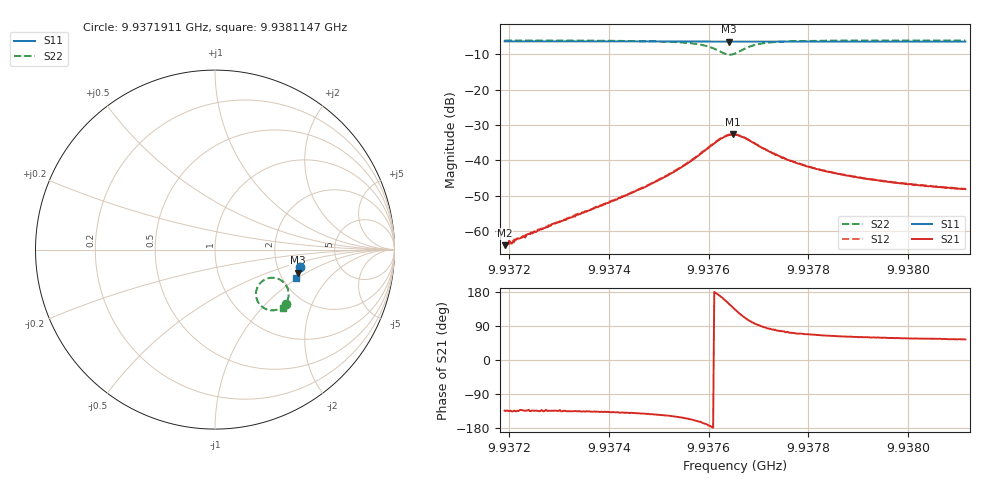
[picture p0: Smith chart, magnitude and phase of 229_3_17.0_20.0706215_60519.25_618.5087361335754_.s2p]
#  HZ  S  RI  R  50.00
! Rohde & Schwarz Vector Network Analyzer
! Rohde-Schwarz,ZNB20-2Port,1311601062101988,3.16
! Created: UTC 3/20/2024, 11:02:18 PM
! freq[Hz]  re:S11  im:S11  re:S21  im:S21  re:S12  im:S12  re:S22  im:S22
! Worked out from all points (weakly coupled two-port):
!   401 points, 9.9371911 GHz to 9.9381147 GHz, reference 50 ohm
!   highest |S21| = -32.65 dB at 9.9376483 GHz (marker M1); lowest = -64.0 dB at 9.9371911 GHz (marker M2)
!   lowest |S11| = -6.4 dB at 9.9376414 GHz (marker M3), VSWR 2.84, Z = 126 - j41.9 ohm
!   |S11| at or under -10 dB: nowhere
!   |S22| runs from -10.1 to -6.1 dB; largest |S21 - S12| = 0.0011
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9.9371911e9  0.4737 -0.0994  -0.000435 -0.000458  -0.000424 -0.000445  0.395 -0.3031
9.93721188e9  0.4732 -0.101  -0.000525 -0.000538  -0.000529 -0.000551  0.3936 -0.3047
9.93723728e9  0.4727 -0.1027  -0.000623 -0.000659  -0.000644 -0.000619  0.3914 -0.3066
9.93729038e9  0.4716 -0.1064  -0.000887 -0.000935  -0.000933 -0.000906  0.3866 -0.3113
9.9373458e9  0.4706 -0.1101  -0.00132 -0.00127  -0.00132 -0.00126  0.3803 -0.3165
9.93744509e9  0.4685 -0.1168  -0.00263 -0.00227  -0.00273 -0.00224  0.3637 -0.3274
9.9375005e9  0.467 -0.1205  -0.00433 -0.00309  -0.00445 -0.00307  0.3466 -0.3343
9.93754899e9  0.4656 -0.124  -0.0074 -0.00381  -0.00757 -0.00374  0.3188 -0.3385
9.93759287e9  0.4639 -0.1268  -0.0136 -0.0028  -0.0139 -0.00244  0.269 -0.3233
9.93762288e9  0.4624 -0.128  -0.0196 0.00385  -0.0199 0.00446  0.2297 -0.2623
9.93764135e9  0.4617 -0.1283  -0.0193 0.0124  -0.0193 0.013  0.244 -0.1966
9.93764828e9  0.4619 -0.1285  -0.0175 0.0154  -0.0173 0.016  0.2633 -0.1761
9.9376529e9  0.4619 -0.1285  -0.0159 0.017  -0.0155 0.0175  0.2789 -0.1661
9.93766445e9  0.4622 -0.1289  -0.0109 0.019  -0.0104 0.0197  0.3205 -0.1568
9.93768061e9  0.4625 -0.1297  -0.00487 0.0189  -0.00438 0.019  0.3664 -0.1702
9.93770601e9  0.4626 -0.1318  0.000235 0.0153  0.000721 0.0152  0.4001 -0.2066
9.93774988e9  0.4621 -0.135  0.0027 0.0106  0.00304 0.0105  0.4104 -0.2498
9.9378076e9  0.4608 -0.1393  0.0031 0.00727  0.00325 0.00723  0.4056 -0.2782
9.93787457e9  0.4593 -0.1438  0.00289 0.00544  0.00306 0.00544  0.3983 -0.2954
9.93796231e9  0.4571 -0.1496  0.00262 0.00422  0.00274 0.00423  0.3899 -0.3088
9.9380362e9  0.4551 -0.1543  0.00243 0.00361  0.00253 0.00363  0.3841 -0.3167
9.9381147e9  0.453 -0.1595  0.00229 0.00319  0.00237 0.00317  0.3783 -0.3235
